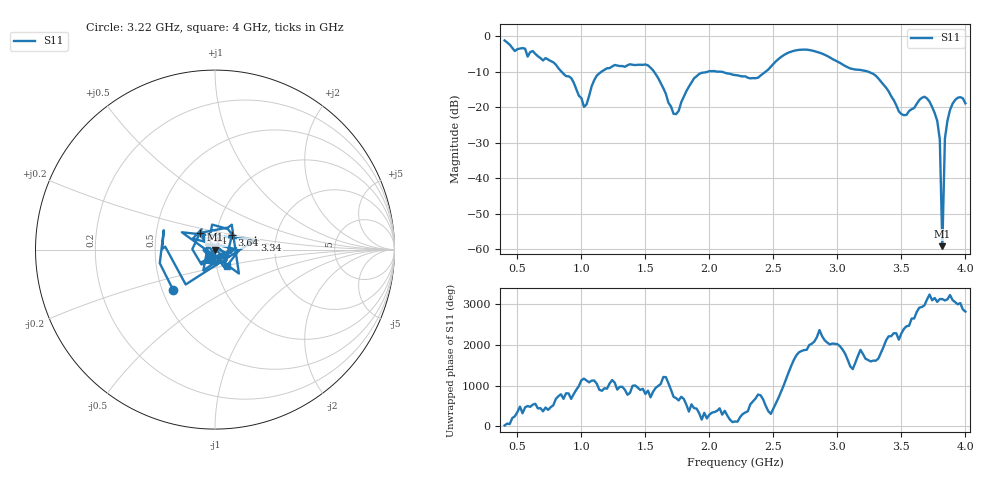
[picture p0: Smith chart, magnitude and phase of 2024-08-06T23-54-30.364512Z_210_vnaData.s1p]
!Created with skrf (http://scikit-rf.org).
# Hz S RI R 50.0
!freq ReS11 ImS11
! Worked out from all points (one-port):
!   181 points, 400 MHz to 4 GHz, reference 50 ohm
!   lowest |S11| = -59.2 dB at 3.82 GHz (marker M1), VSWR 1.00, Z = 50 - j0.104 ohm
!   |S11| at or under -10 dB: 1.567 GHz to 1.988 GHz (420.6 MHz wide, 23.7 % of centre); 2.087 GHz to 2.439 GHz (352.5 MHz wide, 15.6 % of centre); 3.241 GHz to end of sweep (the widest 3 of 4)
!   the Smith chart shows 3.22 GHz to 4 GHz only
!   S11 on the Smith chart (normalised r, x): 3.22 GHz: 0.57, -0.29; 3.34 GHz: 1.56, +0.18; 3.44 GHz: 0.83, +0.16; 3.64 GHz: 1.19, +0.20; 4 GHz: 1.12, -0.21
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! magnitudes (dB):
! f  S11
! 400 MHz  -1.2
! 860 MHz  -10.6
! 920 MHz  -11.8
! 1.02 GHz  -19.9
! 1.12 GHz  -11.1
! 1.3 GHz  -8.4
! 1.52 GHz  -8.2
! 1.72 GHz  -21.9
! 1.76 GHz  -21.1
! 1.92 GHz  -10.6
! 2.2 GHz  -11.0
! 2.38 GHz  -11.7
! 2.66 GHz  -4.1
! 3.1 GHz  -9.1
! 3.22 GHz  -9.8
! 3.34 GHz  -12.8
! 3.44 GHz  -18.0
! 3.5 GHz  -21.9
! 3.56 GHz  -21.1
! 3.64 GHz  -18.0
! 3.7 GHz  -17.5
! 3.78 GHz  -23.9
! 3.8 GHz  -29.1
! 3.82 GHz  -59.2
! 3.84 GHz  -28.8
! 3.86 GHz  -23.8
! 3.92 GHz  -18.0
! 4 GHz  -18.9
